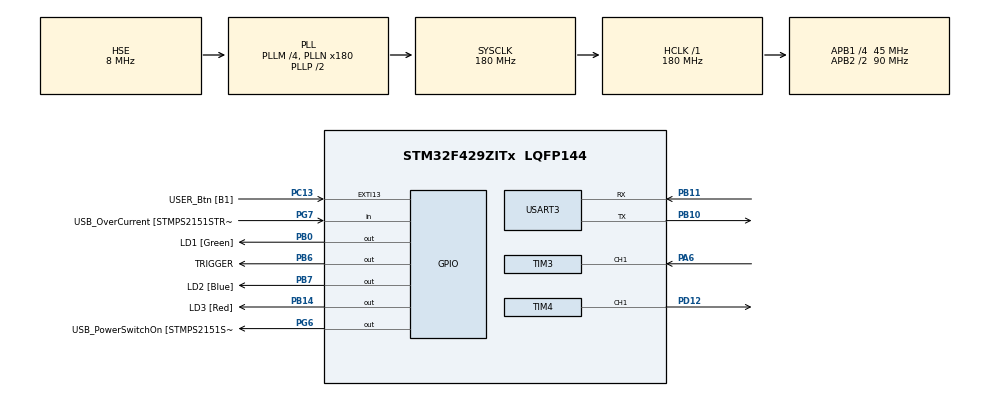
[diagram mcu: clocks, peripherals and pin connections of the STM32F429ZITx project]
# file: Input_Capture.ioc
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Dma.Request0=TIM3_CH1/TRIG
Dma.TIM3_CH1/TRIG.0.Direction=DMA_PERIPH_TO_MEMORY
Dma.TIM3_CH1/TRIG.0.FIFOMode=DMA_FIFOMODE_DISABLE
Dma.TIM3_CH1/TRIG.0.Instance=DMA1_Stream4
Dma.TIM3_CH1/TRIG.0.MemDataAlignment=DMA_MDATAALIGN_HALFWORD
Dma.TIM3_CH1/TRIG.0.MemInc=DMA_MINC_ENABLE
Dma.TIM3_CH1/TRIG.0.Mode=DMA_CIRCULAR
Dma.TIM3_CH1/TRIG.0.PeriphDataAlignment=DMA_PDATAALIGN_HALFWORD
Dma.TIM3_CH1/TRIG.0.PeriphInc=DMA_PINC_DISABLE
Dma.TIM3_CH1/TRIG.0.Priority=DMA_PRIORITY_MEDIUM
Mcu.Family=STM32F4
Mcu.Name=STM32F429ZITx
Mcu.Package=LQFP144
NVIC.DMA1_Stream4_IRQn=true\:0\:0\:false\:false\:true\:false\:true\:true
NVIC.PriorityGroup=NVIC_PRIORITYGROUP_4
NVIC.TIM3_IRQn=true\:0\:0\:false\:false\:true\:true\:true\:true
NVIC.TIM4_IRQn=true\:0\:0\:false\:false\:true\:true\:true\:true
NVIC.USART3_IRQn=true\:0\:0\:false\:false\:true\:true\:true\:true
PA1.GPIO_Label=RMII_REF_CLK [LAN8742A-CZ-TR_REFCLK0]
PA1.Signal=ETH_REF_CLK
PA10.GPIO_Label=USB_ID
PA10.Signal=USB_OTG_FS_ID
PA11.GPIO_Label=USB_DM
PA11.Signal=USB_OTG_FS_DM
PA12.GPIO_Label=USB_DP
PA12.Signal=USB_OTG_FS_DP
PA13.GPIO_Label=TMS
PA13.Mode=Serial_Wire
PA13.Signal=SYS_JTMS-SWDIO
PA14.GPIO_Label=TCK
PA14.Mode=Serial_Wire
PA14.Signal=SYS_JTCK-SWCLK
PA2.GPIO_Label=RMII_MDIO [LAN8742A-CZ-TR_MDIO]
PA2.Signal=ETH_MDIO
PA6.Signal=S_TIM3_CH1
PA7.GPIO_Label=RMII_CRS_DV [LAN8742A-CZ-TR_CRS_DV]
PA7.Signal=ETH_CRS_DV
PA8.GPIO_Label=USB_SOF [TP1]
PA8.Signal=USB_OTG_FS_SOF
PA9.GPIO_Label=USB_VBUS
PA9.Signal=USB_OTG_FS_VBUS
PB0.GPIO_Label=LD1 [Green]
PB0.Signal=GPIO_Output
PB10.Mode=Asynchronous
PB10.Signal=USART3_TX
PB11.Mode=Asynchronous
PB11.Signal=USART3_RX
PB13.GPIO_Label=RMII_TXD1 [LAN8742A-CZ-TR_TXD1]
PB13.Signal=ETH_TXD1
PB14.GPIO_Label=LD3 [Red]
PB14.Signal=GPIO_Output
PB6.GPIO_Label=TRIGGER
PB6.Signal=GPIO_Output
PB7.GPIO_Label=LD2 [Blue]
PB7.Signal=GPIO_Output
PC1.GPIO_Label=RMII_MDC [LAN8742A-CZ-TR_MDC]
PC1.Signal=ETH_MDC
PC13.GPIO_Label=USER_Btn [B1]
PC13.Signal=GPXTI13
PC14/OSC32_IN.Mode=LSE-External-Oscillator
PC14/OSC32_IN.Signal=RCC_OSC32_IN
PC15/OSC32_OUT.Mode=LSE-External-Oscillator
PC15/OSC32_OUT.Signal=RCC_OSC32_OUT
PC4.GPIO_Label=RMII_RXD0 [LAN8742A-CZ-TR_RXD0]
PC4.Signal=ETH_RXD0
PC5.GPIO_Label=RMII_RXD1 [LAN8742A-CZ-TR_RXD1]
PC5.Signal=ETH_RXD1
PD12.Signal=S_TIM4_CH1
PG11.GPIO_Label=RMII_TX_EN [LAN8742A-CZ-TR_TXEN]
PG11.Signal=ETH_TX_EN
PG13.GPIO_Label=RMII_TXD0 [LAN8742A-CZ-TR_TXD0]
PG13.Signal=ETH_TXD0
PG6.GPIO_Label=USB_PowerSwitchOn [STMPS2151STR_EN]
PG6.Signal=GPIO_Output
PG7.GPIO_Label=USB_OverCurrent [STMPS2151STR_FAULT]
PG7.Signal=GPIO_Input
PH0/OSC_IN.GPIO_Label=MCO [STM32F103CBT6_PA8]
PH0/OSC_IN.Mode=HSE-External-Clock-Source
PH0/OSC_IN.Signal=RCC_OSC_IN
PH1/OSC_OUT.Mode=HSE-External-Clock-Source
PH1/OSC_OUT.Signal=RCC_OSC_OUT
ProjectManager.HeapSize=0x200
ProjectManager.StackSize=0x400
ProjectManager.TargetToolchain=STM32CubeIDE
RCC.48MHZClocksFreq_Value=90000000
RCC.AHBFreq_Value=180000000
RCC.APB1CLKDivider=RCC_HCLK_DIV4
RCC.APB1Freq_Value=45000000
RCC.APB1TimFreq_Value=90000000
RCC.APB2CLKDivider=RCC_HCLK_DIV2
RCC.APB2Freq_Value=90000000
RCC.APB2TimFreq_Value=180000000
RCC.CortexFreq_Value=180000000
RCC.HCLKFreq_Value=180000000
RCC.HSE_VALUE=8000000
RCC.HSI_VALUE=16000000
RCC.PLLM=4
RCC.PLLMUL=RCC_PLL_MUL9
RCC.PLLN=180
RCC.PLLSourceVirtual=RCC_PLLSOURCE_HSE
RCC.PRESCALERUSB=RCC_USBCLKSOURCE_PLL_DIV1_5
RCC.SYSCLKFreq_VALUE=180000000
RCC.SYSCLKSource=RCC_SYSCLKSOURCE_PLLCLK
RCC.SYSCLKSourceVirtual=RCC_SYSCLKSOURCE_PLLCLK
RCC.USBFreq_Value=48000000
RCC.VCOOutputFreq_Value=360000000
SH.S_TIM3_CH1.0=TIM3_CH1,Input_Capture1_from_TI1
SH.S_TIM4_CH1.0=TIM4_CH1,Output Compare1 CH1
TIM3.AutoReloadPreload=TIM_AUTORELOAD_PRELOAD_ENABLE
TIM3.Channel-Input_Capture1_from_TI1=TIM_CHANNEL_1
TIM3.ICFilter_CH1=15
TIM3.Prescaler=90-1
TIM4.AutoReloadPreload=TIM_AUTORELOAD_PRELOAD_ENABLE
TIM4.Channel-Output\ Compare1\ CH1=TIM_CHANNEL_1
TIM4.Period=60000-1
TIM4.Prescaler=150-1
TIM4.Pulse-Output\ Compare1\ CH1=7
USART3.VirtualMode=VM_ASYNC
VP_TIM3_VS_ClockSourceINT.Mode=Internal
VP_TIM4_VS_ClockSourceINT.Mode=Internal
board=NUCLEO-F429ZI

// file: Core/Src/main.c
/* USER CODE BEGIN Header */
/**
  ******************************************************************************
  * @file           : main.c
  * @brief          : Main program body
  ******************************************************************************
  * @attention
  *
  * Copyright (c) 2022 STMicroelectronics.
  * All rights reserved.
  *
  * This software is licensed under terms that can be found in the LICENSE file
  * in the root directory of this software component.
  * If no LICENSE file comes with this software, it is provided AS-IS.
  *
  ******************************************************************************
  */
/* USER CODE END Header */
#include "main.h"
#include "dma.h"
#include "tim.h"
#include "usart.h"
#include "gpio.h"

/* USER CODE BEGIN Includes */
#include "stdio.h"
#include "stdbool.h"
/* USER CODE END Includes */

/* USER CODE BEGIN PV */
volatile uint16_t capture[4];
volatile uint16_t array[4];
volatile uint16_t risingCP;
volatile uint16_t fallingCP;
uint8_t captureCNT = 0;
uint32_t period, active, freq, duty;
uint16_t width, DMAwidth = 0;
uint16_t distance, DMAdistance = 0;
bool ch1done = false;
bool ch2done = false;

/* USER CODE END PV */

void SystemClock_Config(void);
/* USER CODE BEGIN PFP */
int _write(int file, char* p, int len)
{
	if(HAL_UART_Transmit(&huart3, (uint8_t *)p, len, 10) == HAL_OK) return len;
	else return 0;
}
void DWT_Delay_us(volatile uint32_t microseconds);
void TriggerEnable(void);
uint32_t DWT_Delay_Init(void);
/* USER CODE END PFP */

int main(void)
{

  /* MCU Configuration--------------------------------------------------------*/

  /* Reset of all peripherals, Initializes the Flash interface and the Systick. */
  HAL_Init();

  /* Configure the system clock */
  SystemClock_Config();

  /* Initialize all configured peripherals */
  MX_GPIO_Init();
  MX_DMA_Init();
  MX_TIM3_Init();
  MX_TIM4_Init();
  MX_USART3_UART_Init();
  /* USER CODE BEGIN 2 */
  DWT_Delay_Init();

  //HAL_TIM_IC_Start_IT(&htim3, TIM_CHANNEL_1);
  HAL_TIM_OC_Start_IT(&htim4, TIM_CHANNEL_1);		// Sonar
  //htim3.State = HAL_TIM_STATE_READY;
  HAL_TIM_IC_Start_DMA(&htim3, TIM_CHANNEL_1, (uint32_t *)capture, 4);

  HAL_TIM_Base_Start_IT(&htim3);
  HAL_TIM_Base_Start_IT(&htim4);	// Sonar
  /* USER CODE END 2 */

  /* Infinite loop */
  /* USER CODE BEGIN WHILE */
  printf("start this program \r\n");
  HAL_Delay(1000);
  while (1)
  {
	 //HAL_Delay(100);
	 printf("%lx %x [%d] %5d | %5d | %5d | %5d | width : %5d\r\n",TIM3->CCER & TIM_CCER_CC1P, 0x01 << 1 , captureCNT, capture[0], capture[1], capture[2], capture[3], DMAwidth);
	 //printf("%lx %x [%d] %5d | %5d | %5d | %5d | width : %5d\r\n",TIM3->CCER & TIM_CCER_CC1P, 0x01 << 1 , captureCNT, array[0], array[1], array[2], array[3], DMAwidth);
	 //printf("%lx %x %5d-%5d DMAWidth : %5d => DMAdistance : %4d cm | period : %5ld | freq : %3ld | duty : %3ld\r\n",TIM3->CCER & TIM_CCER_CC1P, 0x01 << 1 ,capture[0], capture[1], DMAwidth, DMAdistance, period ,freq, duty);

    /* USER CODE END WHILE */

  }
}

void SystemClock_Config(void)
{
  RCC_OscInitTypeDef RCC_OscInitStruct = {0};
  RCC_ClkInitTypeDef RCC_ClkInitStruct = {0};

  /** Configure the main internal regulator output voltage
  */
  __HAL_RCC_PWR_CLK_ENABLE();
  __HAL_PWR_VOLTAGESCALING_CONFIG(PWR_REGULATOR_VOLTAGE_SCALE1);

  /** Initializes the RCC Oscillators according to the specified parameters
  * in the RCC_OscInitTypeDef structure.
  */
  RCC_OscInitStruct.OscillatorType = RCC_OSCILLATORTYPE_HSE;
  RCC_OscInitStruct.HSEState = RCC_HSE_BYPASS;
  RCC_OscInitStruct.PLL.PLLState = RCC_PLL_ON;
  RCC_OscInitStruct.PLL.PLLSource = RCC_PLLSOURCE_HSE;
  RCC_OscInitStruct.PLL.PLLM = 4;
  RCC_OscInitStruct.PLL.PLLN = 180;
  RCC_OscInitStruct.PLL.PLLP = RCC_PLLP_DIV2;
  RCC_OscInitStruct.PLL.PLLQ = 4;
  if (HAL_RCC_OscConfig(&RCC_OscInitStruct) != HAL_OK)
  {
    Error_Handler();
  }

  /** Activate the Over-Drive mode
  */
  if (HAL_PWREx_EnableOverDrive() != HAL_OK)
  {
    Error_Handler();
  }

  /** Initializes the CPU, AHB and APB buses clocks
  */
  RCC_ClkInitStruct.ClockType = RCC_CLOCKTYPE_HCLK|RCC_CLOCKTYPE_SYSCLK
                              |RCC_CLOCKTYPE_PCLK1|RCC_CLOCKTYPE_PCLK2;
  RCC_ClkInitStruct.SYSCLKSource = RCC_SYSCLKSOURCE_PLLCLK;
  RCC_ClkInitStruct.AHBCLKDivider = RCC_SYSCLK_DIV1;
  RCC_ClkInitStruct.APB1CLKDivider = RCC_HCLK_DIV4;
  RCC_ClkInitStruct.APB2CLKDivider = RCC_HCLK_DIV2;

  if (HAL_RCC_ClockConfig(&RCC_ClkInitStruct, FLASH_LATENCY_5) != HAL_OK)
  {
    Error_Handler();
  }
}

/* USER CODE BEGIN 4 */
/* DMA */

void HAL_TIM_PeriodElapsedCallback(TIM_HandleTypeDef *htim)
{
	if(htim->Instance == TIM4)
	{
		GPIOB->ODR |= 0x01 << 6;  // PB 6 SET
		GPIOB->ODR |= LD1_Pin;
		//TriggerEnable();
	}

}

void HAL_TIM_OC_DelayElapsedCallback(TIM_HandleTypeDef *htim)
{
	if(htim->Instance == TIM4)	// Pulse 7
	{
		GPIOB->ODR &= ~(0x01 << 6);	// PB 6	RESET, Pulse
		GPIOB->ODR &= ~LD1_Pin;
	}
}

void HAL_TIM_IC_CaptureCallback(TIM_HandleTypeDef *htim)
{

	if(htim->Instance == TIM3 && htim->Channel == HAL_TIM_ACTIVE_CHANNEL_1)
	{

		/*   */
		if((TIM3->CCER & TIM_CCER_CC1P) != TIM_CCER_CC1P)
		{
			array[captureCNT] = capture[captureCNT];	// f(past <- get) - r(current <- capture[1, 3]) - f(future)
			TIM3->CCER |= TIM_CCER_CC1P;		// Rising -> Falling (0 -> 1)
			GPIOB->ODR |= LD2_Pin;
			GPIOB->ODR &= ~LD3_Pin;
			ch1done = true;
		}
		else
		{
			array[captureCNT] = capture[captureCNT];		// r(past <- get) - f(current <- capture[0, 2]) - r(future)
			TIM3->CCER &= ~TIM_CCER_CC1P;		// Falling -> Rising	(1 -> 0)
			GPIOB->ODR |= LD3_Pin;
			GPIOB->ODR &= ~LD2_Pin;
			ch1done = false;

		}

		if(!ch1done)
		{
					if(array[0] > array[1]){
						DMAwidth = array[0] - array[1];
					}
					else
					{
						DMAwidth = TIM3->ARR - array[1] + array[0];
					}
		//
		//			 DMAdistance = DMAwidth/58;
		//			 if(DMAdistance > 400) DMAdistance = 400;
		//
		//			 if(capture[0] > capture[2])
		//			 {
		//				 period = TIM3->ARR - capture[0] + capture[2];
		//			 }
		//			 else
		//			 {
		//				 period = capture[2] - capture[0];
		//			 }
		//
		//			 period += TIM3->ARR;
		//			 freq = (HAL_RCC_GetPCLK1Freq() * 2)/(TIM3->PSC + 1);
		//			 freq = freq / period;
		//
		//			 duty = DMAwidth * 100/period;
		}

		if(captureCNT > 3) captureCNT = 0;
		else captureCNT++;

	}
}

uint32_t DWT_Delay_Init(void)
{
  /* Disable TRC */
  CoreDebug->DEMCR &= ~CoreDebug_DEMCR_TRCENA_Msk; // ~0x01000000;
  /* Enable TRC */
  CoreDebug->DEMCR |=  CoreDebug_DEMCR_TRCENA_Msk; // 0x01000000;

  /* Disable clock cycle counter */
  DWT->CTRL &= ~DWT_CTRL_CYCCNTENA_Msk; //~0x00000001;
  /* Enable  clock cycle counter */
  DWT->CTRL |=  DWT_CTRL_CYCCNTENA_Msk; //0x00000001;

  /* Reset the clock cycle counter value */
  DWT->CYCCNT = 0;

     /* 3 NO OPERATION instructions */
     __ASM volatile ("NOP");
     __ASM volatile ("NOP");
  __ASM volatile ("NOP");

  /* Check if clock cycle counter has started */
     if(DWT->CYCCNT)
     {
       return 0; /*clock cycle counter started*/
     }
     else
  {
    return 1; /*clock cycle counter not started*/
  }
}

void DWT_Delay_us(volatile uint32_t microseconds)
{
  uint32_t clk_cycle_start = DWT->CYCCNT;

  /* Go to number of cycles for system */
  microseconds *= (HAL_RCC_GetHCLKFreq() / 1000000);

  /* Delay till end */
  while ((DWT->CYCCNT - clk_cycle_start) < microseconds);
}

void TriggerEnable(void)
{
	GPIOB->ODR &= ~TRIGGER_Pin;	// initialize
	DWT_Delay_us(2);
	GPIOB->ODR |= TRIGGER_Pin;	// Trigger signal
	DWT_Delay_us(11);
	GPIOB->ODR &= ~TRIGGER_Pin;	// shut down
}

/* USER CODE END 4 */

void Error_Handler(void)
{
  __disable_irq();
  while (1)
  {
  }
}
